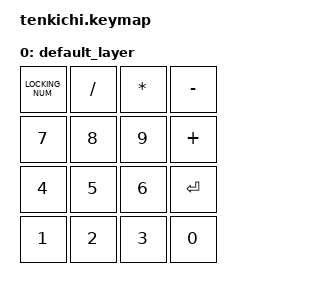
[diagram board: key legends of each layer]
/*
 * Copyright (c) 2021 The ZMK Contributors
 *
 * SPDX-License-Identifier: MIT
 */

#include <behaviors.dtsi>
#include <dt-bindings/zmk/keys.h>

/ {
    keymap {
        compatible = "zmk,keymap";

        default_layer {
            bindings = <
&kp LOCKING_NUM  &kp SLASH  &kp STAR  &kp MINUS
         &kp N7     &kp N8    &kp N9   &kp PLUS
         &kp N4     &kp N5    &kp N6  &kp ENTER
         &kp N1     &kp N2    &kp N3     &kp N0
            >;
        };
    };
};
